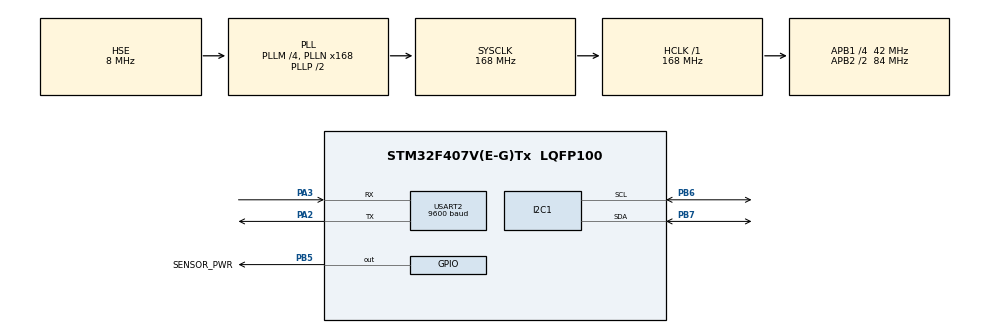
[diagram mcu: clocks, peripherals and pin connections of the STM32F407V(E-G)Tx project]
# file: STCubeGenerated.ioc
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Mcu.Family=STM32F4
Mcu.Name=STM32F407V(E-G)Tx
Mcu.Package=LQFP100
NVIC.PriorityGroup=NVIC_PRIORITYGROUP_4
PA2.Mode=Asynchronous
PA2.Signal=USART2_TX
PA3.Mode=Asynchronous
PA3.Signal=USART2_RX
PB5.GPIO_Label=SENSOR_PWR
PB5.Signal=GPIO_Output
PB6.Mode=I2C
PB6.Signal=I2C1_SCL
PB7.Mode=I2C
PB7.Signal=I2C1_SDA
PH0-OSC_IN.Mode=HSE-External-Oscillator
PH0-OSC_IN.Signal=RCC_OSC_IN
PH1-OSC_OUT.Mode=HSE-External-Oscillator
PH1-OSC_OUT.Signal=RCC_OSC_OUT
ProjectManager.HeapSize=0x200
ProjectManager.StackSize=0x400
ProjectManager.TargetToolchain=MDK-ARM V5
RCC.48MHZClocksFreq_Value=84000000
RCC.AHBFreq_Value=168000000
RCC.APB1CLKDivider=RCC_HCLK_DIV4
RCC.APB1Freq_Value=42000000
RCC.APB1TimFreq_Value=84000000
RCC.APB2CLKDivider=RCC_HCLK_DIV2
RCC.APB2Freq_Value=84000000
RCC.APB2TimFreq_Value=168000000
RCC.CortexFreq_Value=168000000
RCC.HCLKFreq_Value=168000000
RCC.HSE_VALUE=8000000
RCC.HSI_VALUE=16000000
RCC.LSE_VALUE=32768
RCC.PLLM=4
RCC.PLLN=168
RCC.PLLSourceVirtual=RCC_PLLSOURCE_HSE
RCC.SYSCLKFreq_VALUE=168000000
RCC.SYSCLKSource=RCC_SYSCLKSOURCE_PLLCLK
RCC.VCOOutputFreq_Value=336000000
USART2.BaudRate=9600
USART2.VirtualMode=VM_ASYNC
board=custom

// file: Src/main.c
/* USER CODE BEGIN Header */
/**
  ******************************************************************************
  * @file           : main.c
  * @brief          : Main program body
  ******************************************************************************
  * @attention
  *
  * <h2><center>&copy; Copyright (c) 2022 STMicroelectronics.
  * All rights reserved.</center></h2>
  *
  * This software component is licensed by ST under BSD 3-Clause license,
  * the "License"; You may not use this file except in compliance with the
  * License. You may obtain a copy of the License at:
  *                        opensource.org/licenses/BSD-3-Clause
  *
  ******************************************************************************
  */
/* USER CODE END Header */
#include "main.h"

/* USER CODE BEGIN Includes */

#include "vl53l1_api.h"

/* USER CODE END Includes */

 I2C_HandleTypeDef hi2c1;

UART_HandleTypeDef huart2;

void SystemClock_Config(void);
static void MX_GPIO_Init(void);
static void MX_I2C1_Init(void);
static void MX_USART2_UART_Init(void);

/* USER CODE BEGIN 0 */

static VL53L1_Error initSensor( VL53L1_Dev_t * device );

/* USER CODE END 0 */

int main(void)
{

  /* MCU Configuration--------------------------------------------------------*/

  /* Reset of all peripherals, Initializes the Flash interface and the Systick. */
  HAL_Init();

  /* Configure the system clock */
  SystemClock_Config();

  /* Initialize all configured peripherals */
  MX_GPIO_Init();
  MX_I2C1_Init();
  MX_USART2_UART_Init();
  /* USER CODE BEGIN 2 */

  static VL53L1_Dev_t device;
  static VL53L1_DEV dev = &device;

  static volatile uint16_t res = 0;

  device.I2cHandle=&hi2c1;
  device.I2cDevAddr=0x52;

  HAL_GPIO_WritePin(SENSOR_PWR_GPIO_Port,SENSOR_PWR_Pin, 1);

  initSensor(dev);

  uint8_t byteData = 55;

  static uint8_t data_ready;
  static VL53L1_RangingMeasurementData_t result;
  static VL53L1_Error Status;

  /* USER CODE END 2 */

  /* Infinite loop */
    while (1) {

    /* USER CODE BEGIN 3 */
        Status = VL53L1_WaitMeasurementDataReady(dev);
			if(!Status)
			{
				Status = VL53L1_GetRangingMeasurementData(dev, &result);
				Status = VL53L1_ClearInterruptAndStartMeasurement(dev);
                HAL_UART_Transmit(&huart2,&byteData,1,5);
			}

    }
  /* USER CODE END 3 */
}

void SystemClock_Config(void)
{
  RCC_OscInitTypeDef RCC_OscInitStruct = {0};
  RCC_ClkInitTypeDef RCC_ClkInitStruct = {0};

  /** Configure the main internal regulator output voltage
  */
  __HAL_RCC_PWR_CLK_ENABLE();
  __HAL_PWR_VOLTAGESCALING_CONFIG(PWR_REGULATOR_VOLTAGE_SCALE1);

  /** Initializes the RCC Oscillators according to the specified parameters
  * in the RCC_OscInitTypeDef structure.
  */
  RCC_OscInitStruct.OscillatorType = RCC_OSCILLATORTYPE_HSE;
  RCC_OscInitStruct.HSEState = RCC_HSE_ON;
  RCC_OscInitStruct.PLL.PLLState = RCC_PLL_ON;
  RCC_OscInitStruct.PLL.PLLSource = RCC_PLLSOURCE_HSE;
  RCC_OscInitStruct.PLL.PLLM = 4;
  RCC_OscInitStruct.PLL.PLLN = 168;
  RCC_OscInitStruct.PLL.PLLP = RCC_PLLP_DIV2;
  RCC_OscInitStruct.PLL.PLLQ = 4;
  if (HAL_RCC_OscConfig(&RCC_OscInitStruct) != HAL_OK)
  {
    Error_Handler();
  }

  /** Initializes the CPU, AHB and APB buses clocks
  */
  RCC_ClkInitStruct.ClockType = RCC_CLOCKTYPE_HCLK|RCC_CLOCKTYPE_SYSCLK
                              |RCC_CLOCKTYPE_PCLK1|RCC_CLOCKTYPE_PCLK2;
  RCC_ClkInitStruct.SYSCLKSource = RCC_SYSCLKSOURCE_PLLCLK;
  RCC_ClkInitStruct.AHBCLKDivider = RCC_SYSCLK_DIV1;
  RCC_ClkInitStruct.APB1CLKDivider = RCC_HCLK_DIV4;
  RCC_ClkInitStruct.APB2CLKDivider = RCC_HCLK_DIV2;

  if (HAL_RCC_ClockConfig(&RCC_ClkInitStruct, FLASH_LATENCY_5) != HAL_OK)
  {
    Error_Handler();
  }
}

static void MX_I2C1_Init(void)
{

  hi2c1.Instance = I2C1;
  hi2c1.Init.ClockSpeed = 100000;
  hi2c1.Init.DutyCycle = I2C_DUTYCYCLE_2;
  hi2c1.Init.OwnAddress1 = 0;
  hi2c1.Init.AddressingMode = I2C_ADDRESSINGMODE_7BIT;
  hi2c1.Init.DualAddressMode = I2C_DUALADDRESS_DISABLE;
  hi2c1.Init.OwnAddress2 = 0;
  hi2c1.Init.GeneralCallMode = I2C_GENERALCALL_DISABLE;
  hi2c1.Init.NoStretchMode = I2C_NOSTRETCH_DISABLE;
  if (HAL_I2C_Init(&hi2c1) != HAL_OK)
  {
    Error_Handler();
  }

}

static void MX_USART2_UART_Init(void)
{

  huart2.Instance = USART2;
  huart2.Init.BaudRate = 9600;
  huart2.Init.WordLength = UART_WORDLENGTH_8B;
  huart2.Init.StopBits = UART_STOPBITS_1;
  huart2.Init.Parity = UART_PARITY_NONE;
  huart2.Init.Mode = UART_MODE_TX_RX;
  huart2.Init.HwFlowCtl = UART_HWCONTROL_NONE;
  huart2.Init.OverSampling = UART_OVERSAMPLING_16;
  if (HAL_UART_Init(&huart2) != HAL_OK)
  {
    Error_Handler();
  }

}

static void MX_GPIO_Init(void)
{
  GPIO_InitTypeDef GPIO_InitStruct = {0};

  /* GPIO Ports Clock Enable */
  __HAL_RCC_GPIOH_CLK_ENABLE();
  __HAL_RCC_GPIOA_CLK_ENABLE();
  __HAL_RCC_GPIOB_CLK_ENABLE();

  /*Configure GPIO pin Output Level */
  HAL_GPIO_WritePin(SENSOR_PWR_GPIO_Port, SENSOR_PWR_Pin, GPIO_PIN_RESET);

  /*Configure GPIO pin : SENSOR_PWR_Pin */
  GPIO_InitStruct.Pin = SENSOR_PWR_Pin;
  GPIO_InitStruct.Mode = GPIO_MODE_OUTPUT_PP;
  GPIO_InitStruct.Pull = GPIO_NOPULL;
  GPIO_InitStruct.Speed = GPIO_SPEED_FREQ_LOW;
  HAL_GPIO_Init(SENSOR_PWR_GPIO_Port, &GPIO_InitStruct);

}

/* USER CODE BEGIN 4 */

static VL53L1_Error initSensor( VL53L1_Dev_t * device ) {

    VL53L1_Error Status=VL53L1_ERROR_NONE;
/*
    static uint32_t refSpadCount     = 0;
    static uint8_t  isApertureSpads  = 0;
    static uint8_t  VhvSettings      = 0;
    static uint8_t  PhaseCal         = 0;
*/

    Status = VL53L1_WaitDeviceBooted(device);
    Status = VL53L1_DataInit(device);
    Status = VL53L1_StaticInit(device);
    Status = VL53L1_PerformRefSpadManagement(device);
    Status = VL53L1_SetPresetMode(device, VL53L1_PRESETMODE_LITE_RANGING);
    Status = VL53L1_SetDistanceMode(device, VL53L1_DISTANCEMODE_LONG);
    Status = VL53L1_SetMeasurementTimingBudgetMicroSeconds(device, 400000);
    Status = VL53L1_SetInterMeasurementPeriodMilliSeconds(device, 1000);
    Status = VL53L1_StartMeasurement(device);

    return Status;
}

/* USER CODE END 4 */

void Error_Handler(void)
{
  __disable_irq();
  while (1) {
  }
}
